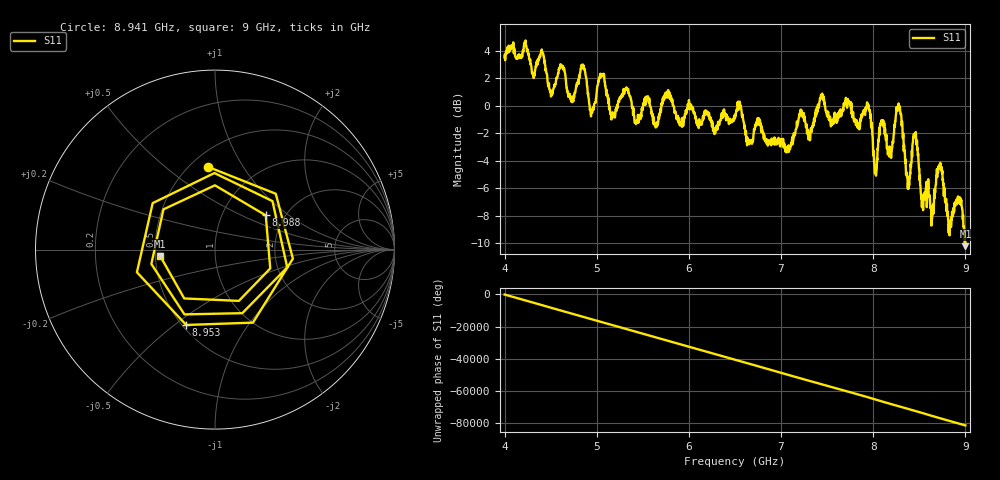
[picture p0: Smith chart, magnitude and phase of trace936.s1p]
! Created with skrf 1.8.0 (http://scikit-rf.org).
# Hz S RI R 50.0
!freq ReS11 ImS11
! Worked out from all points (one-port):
!   1601 points, 4 GHz to 9 GHz, reference 50 ohm
!   lowest |S11| = -10.2 dB at 9 GHz (marker M1), VSWR 1.89, Z = 26.5 - j2.05 ohm
!   |S11| at or under -10 dB: 8.993673 GHz to 8.994504 GHz (831.2 kHz wide, 0.00924 % of centre); 8.99817 GHz to end of sweep
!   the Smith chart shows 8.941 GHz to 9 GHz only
!   S11 on the Smith chart (normalised r, x): 8.941 GHz: 0.61, +0.71; 8.953 GHz: 0.52, -0.55; 8.988 GHz: 1.60, +0.69; 9 GHz: 0.53, -0.04
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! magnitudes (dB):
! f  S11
! 4 GHz  3.5
! 4.403 GHz  4.1
! 4.509 GHz  0.8
! 4.625 GHz  2.9
! 4.731 GHz  0.4
! 4.853 GHz  2.7
! 4.944 GHz  -0.4
! 5.056 GHz  2.3
! 5.159 GHz  -1.0
! 5.25 GHz  0.6
! 5.875 GHz  -1.0
! 6.5 GHz  -0.9
! 7.125 GHz  -2.2
! 7.441 GHz  0.7
! 7.75 GHz  0.0
! 7.947 GHz  0.0
! 8.025 GHz  -4.6
! 8.278 GHz  0.0
! 8.375 GHz  -6.0
! 8.45 GHz  -2.3
! 8.541 GHz  -7.6
! 8.641 GHz  -7.9
! 8.725 GHz  -4.4
! 8.828 GHz  -9.4
! 8.941 GHz  -6.7
! 8.953 GHz  -6.9
! 8.988 GHz  -9.3
! 9 GHz  -10.2
